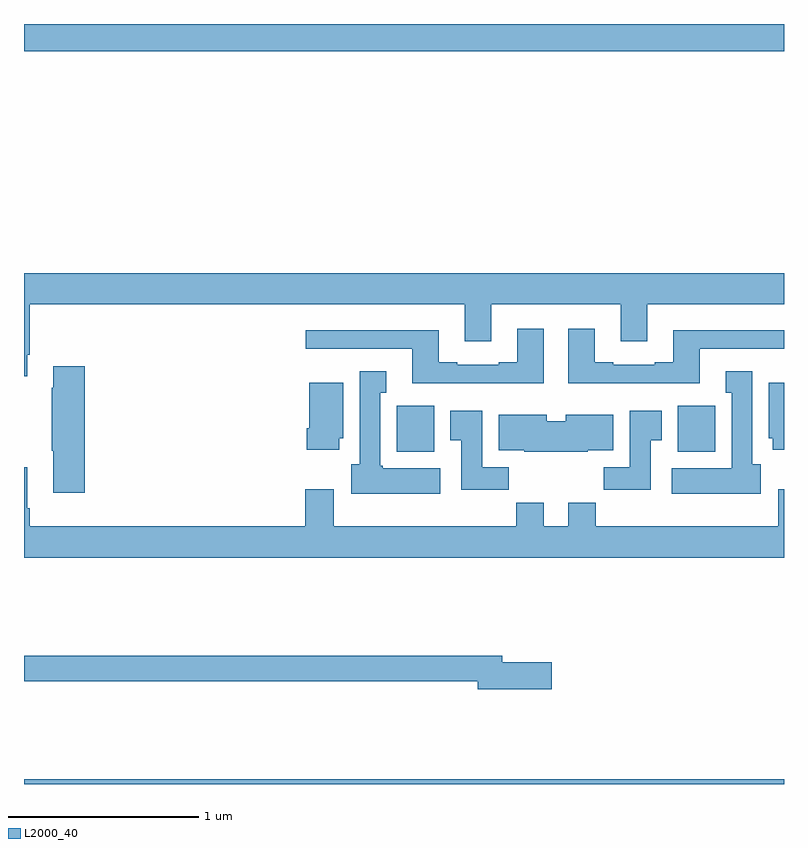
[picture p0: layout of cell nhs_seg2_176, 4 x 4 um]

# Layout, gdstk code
import gdstk
lib = gdstk.Library(unit=1e-6, precision=1e-09)
def R(c, l, rs):  # rectangles x0, y0, x1, y1
    for r in rs: c.add(gdstk.rectangle(r[:2], r[2:], *l))
def P(c, l, *ps):  # polygons
    for p in ps: c.add(gdstk.Polygon(p, *l))
L2000_40 = (2000, 40)

nhs_seg2_176 = lib.new_cell('nhs_seg2_176')
R(nhs_seg2_176, L2000_40, [(119,623.8,123,623.824), (120.962,625.55,121.159,625.792), (122.441,625.55,122.638,625.792), (119,627.656,123,627.8)])
P(nhs_seg2_176, L2000_40, [(119.017,626.059),(119.03,626.059),(119.03,626.324),(121.319,626.324),(121.319,626.13),(121.459,626.13),(121.459,626.324),(122.141,626.324),(122.141,626.13),(122.281,626.13),(122.281,626.324),(123,626.324),(123,626.488),(119,626.488),(119,625.947),(119.017,625.947)],
  [(122.557,626.091),(123,626.091),(123,626.188),(122.417,626.188),(122.417,626.02),(122.321,626.02),(122.321,626.007),(122.101,626.007),(122.101,626.02),(122.005,626.02),(122.005,626.197),(121.865,626.197),(121.865,625.91),(122.557,625.91)],
  [(121.735,626.197),(121.595,626.197),(121.595,626.02),(121.499,626.02),(121.499,626.007),(121.279,626.007),(121.279,626.02),(121.183,626.02),(121.183,626.188),(120.483,626.188),(120.483,626.091),(121.043,626.091),(121.043,625.91),(121.735,625.91)],
  [(119.321,625.999),(119.153,625.999),(119.153,625.886),(119.146,625.886),(119.146,625.555),(119.153,625.555),(119.153,625.332),(119.321,625.332)],
  [(122.878,625.482),(122.833,625.482),(122.833,625.972),(122.693,625.972),(122.693,625.859),(122.726,625.859),(122.726,625.462),(122.409,625.462),(122.409,625.328),(122.878,625.328)],
  [(121.192,625.462),(120.888,625.462),(120.888,625.476),(120.874,625.476),(120.874,625.859),(120.907,625.859),(120.907,625.972),(120.767,625.972),(120.767,625.482),(120.722,625.482),(120.722,625.328),(121.192,625.328)],
  [(123,625.912),(122.921,625.912),(122.921,625.62),(122.942,625.62),(122.942,625.56),(123,625.56)],
  [(120.658,625.62),(120.679,625.62),(120.679,625.912),(120.5,625.912),(120.5,625.672),(120.488,625.672),(120.488,625.56),(120.658,625.56)],
  [(121.55,625.468),(121.411,625.468),(121.411,625.765),(121.244,625.765),(121.244,625.609),(121.301,625.609),(121.301,625.35),(121.55,625.35)],
  [(122.299,625.609),(122.356,625.609),(122.356,625.765),(122.189,625.765),(122.189,625.468),(122.05,625.468),(122.05,625.35),(122.299,625.35)],
  [(121.968,625.556),(122.101,625.556),(122.101,625.744),(121.85,625.744),(121.85,625.708),(121.75,625.708),(121.75,625.744),(121.499,625.744),(121.499,625.556),(121.632,625.556),(121.632,625.55),(121.968,625.55)],
  [(123,625.351),(122.969,625.351),(122.969,625.156),(122.009,625.156),(122.009,625.28),(121.865,625.28),(121.865,625.156),(121.735,625.156),(121.735,625.28),(121.591,625.28),(121.591,625.156),(120.631,625.156),(120.631,625.351),(120.479,625.351),(120.479,625.156),(119.03,625.156),(119.03,625.252),(119.017,625.252),(119.017,625.468),(119,625.468),(119,624.992),(123,624.992)],
  [(121.777,624.44),(121.516,624.44),(121.516,624.476),(119,624.476),(119,624.34),(121.388,624.34),(121.388,624.298),(121.777,624.298)])

lib.write_gds('nhs_seg2_176.gds')
